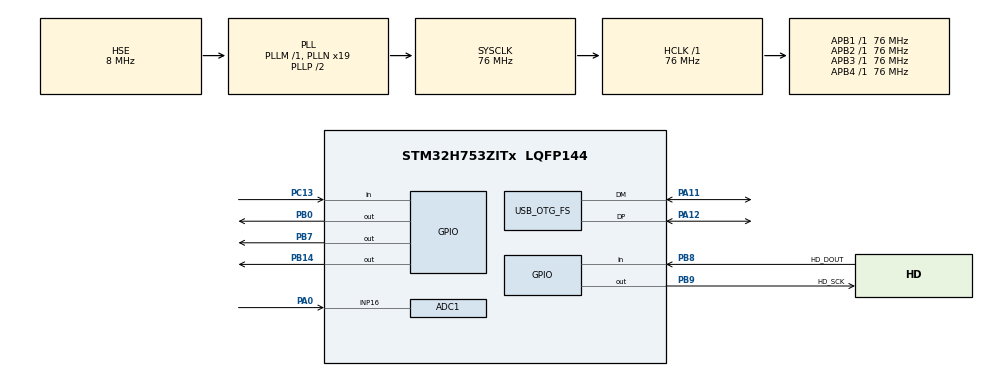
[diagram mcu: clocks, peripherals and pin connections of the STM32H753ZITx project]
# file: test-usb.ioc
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ADC1.Channel-0\#ChannelRegularConversion=ADC_CHANNEL_16
ADC1.NbrOfConversionFlag=1
ADC1.OffsetNumber-0\#ChannelRegularConversion=ADC_OFFSET_NONE
ADC1.OffsetSignedSaturation-0\#ChannelRegularConversion=DISABLE
ADC1.Rank-0\#ChannelRegularConversion=1
ADC1.Resolution=ADC_RESOLUTION_12B
ADC1.SamplingTime-0\#ChannelRegularConversion=ADC_SAMPLETIME_1CYCLE_5
ADC1.master=1
CORTEX_M7.CPU_DCache=Disabled
CORTEX_M7.CPU_ICache=Disabled
CORTEX_M7.MPU_Control=__NULL
CORTEX_M7.default_mode_Activation=1
FREERTOS.Tasks01=defaultTask,24,3000,StartDefaultTask,Default,NULL,Static,defaultTaskBuffer,defaultTaskControlBlock
FREERTOS.configUSE_NEWLIB_REENTRANT=1
Mcu.Family=STM32H7
Mcu.Name=STM32H753ZITx
Mcu.Package=LQFP144
NUCLEO-H753ZI.BUTTON=1
NUCLEO-H753ZI.LD1=true
NUCLEO-H753ZI.LD2=true
NUCLEO-H753ZI.LD3=true
NUCLEO-H753ZI.VCP=true
NVIC.EXTI15_10_IRQn=true\:5\:0\:false\:false\:true\:true\:false\:true\:true
NVIC.OTG_FS_IRQn=true\:5\:0\:false\:false\:true\:true\:false\:true\:true
NVIC.PriorityGroup=NVIC_PRIORITYGROUP_4
NVIC.TIM1_UP_IRQn=true\:15\:0\:false\:false\:true\:false\:false\:true\:true
NVIC.TimeBase=TIM1_UP_IRQn
NVIC.TimeBaseIP=TIM1
PA0.Mode=IN16-Single-Ended
PA0.Signal=ADC1_INP16
PA11.Mode=Device_Only
PA11.Signal=USB_OTG_FS_DM
PA12.Mode=Device_Only
PA12.Signal=USB_OTG_FS_DP
PA13\ (JTMS/SWDIO).Mode=Serial_Wire
PA13\ (JTMS/SWDIO).Signal=DEBUG_JTMS-SWDIO
PA14\ (JTCK/SWCLK).Mode=Serial_Wire
PA14\ (JTCK/SWCLK).Signal=DEBUG_JTCK-SWCLK
PB0.Signal=GPIO_Output
PB14.Signal=GPIO_Output
PB7.Signal=GPIO_Output
PB8.GPIO_Label=HD_DOUT
PB8.Signal=GPIO_Input
PB9.GPIO_Label=HD_SCK
PB9.Signal=GPIO_Output
PC13.Signal=GPIO_Input
PC14-OSC32_IN\ (OSC32_IN).Signal=RCC_OSC32_IN
PC15-OSC32_OUT\ (OSC32_OUT).Signal=RCC_OSC32_OUT
PD8.Signal=USART3_TX
PD9.Signal=USART3_RX
PH0-OSC_IN\ (PH0).Mode=HSE-External-Oscillator
PH0-OSC_IN\ (PH0).Signal=RCC_OSC_IN
PH1-OSC_OUT\ (PH1).Mode=HSE-External-Oscillator
PH1-OSC_OUT\ (PH1).Signal=RCC_OSC_OUT
ProjectManager.HeapSize=0x200
ProjectManager.StackSize=0x400
ProjectManager.TargetToolchain=STM32CubeIDE
RCC.ADCFreq_Value=76000000
RCC.APB1Freq_Value=76000000
RCC.APB2Freq_Value=76000000
RCC.APB3Freq_Value=76000000
RCC.APB4Freq_Value=76000000
RCC.CortexFreq_Value=76000000
RCC.DIVM1=1
RCC.DIVM2=1
RCC.DIVN1=19
RCC.DIVN2=19
RCC.DIVQ1=3
RCC.FLatency=FLASH_LATENCY_1
RCC.HCLKFreq_Value=76000000
RCC.HSE_VALUE=8000000
RCC.PLL2FRACN=0
RCC.PLLFRACN=0
RCC.PLLSourceVirtual=RCC_PLLSOURCE_HSE
RCC.SYSCLKFreq_VALUE=76000000
RCC.SYSCLKSource=RCC_SYSCLKSOURCE_PLLCLK
RCC.Tim1Mul=1
RCC.Tim2Mul=1
RCC.USBFreq_Value=50666666.666666664
USB_DEVICE.CLASS_NAME_FS=CDC
USB_DEVICE.PRODUCT_STRING_CDC_FS=STM32 Virtual Port
USB_DEVICE.VirtualMode-CDC_FS=Cdc
USB_DEVICE.VirtualModeFS=Cdc_FS
USB_OTG_FS.VirtualMode=Device_Only
VP_FREERTOS_VS_CMSIS_V2.Mode=CMSIS_V2
VP_MEMORYMAP_VS_MEMORYMAP.Mode=CurAppReg
VP_NUCLEO-H753ZI_VS_BSP_COMMON.Mode=COMMON
VP_SYS_VS_tim1.Mode=TIM1
VP_USB_DEVICE_VS_USB_DEVICE_CDC_FS.Mode=CDC_FS
board=NUCLEO-H753ZI

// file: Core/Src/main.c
/* USER CODE BEGIN Header */
/**
  ******************************************************************************
  * @file           : main.c
  * @brief          : Main program body
  ******************************************************************************
  * @attention
  *
  * Copyright (c) 2025 STMicroelectronics.
  * All rights reserved.
  *
  * This software is licensed under terms that can be found in the LICENSE file
  * in the root directory of this software component.
  * If no LICENSE file comes with this software, it is provided AS-IS.
  *
  ******************************************************************************
  */
/* USER CODE END Header */
#include "main.h"
#include "cmsis_os.h"
#include "adc.h"
#include "usb_device.h"
#include "gpio.h"

/* USER CODE BEGIN Includes */
#include "usbd_cdc_if.h"
#include "string.h"
/* USER CODE END Includes */

COM_InitTypeDef BspCOMInit;

void SystemClock_Config(void);
void MX_FREERTOS_Init(void);

int main(void)
{

  /* MCU Configuration--------------------------------------------------------*/

  /* Reset of all peripherals, Initializes the Flash interface and the Systick. */
  HAL_Init();

  /* Configure the system clock */
  SystemClock_Config();

  /* Initialize all configured peripherals */
  MX_GPIO_Init();
  MX_ADC1_Init();

  /* Init scheduler */
  osKernelInitialize();  /* Call init function for freertos objects (in cmsis_os2.c) */
  MX_FREERTOS_Init();

  /* Initialize leds */
  BSP_LED_Init(LED_GREEN);
  BSP_LED_Init(LED_BLUE);
  BSP_LED_Init(LED_RED);

  /* Initialize USER push-button, will be used to trigger an interrupt each time it's pressed.*/
  BSP_PB_Init(BUTTON_USER, BUTTON_MODE_EXTI);

  /* Initialize COM1 port (115200, 8 bits (7-bit data + 1 stop bit), no parity */
  BspCOMInit.BaudRate   = 115200;
  BspCOMInit.WordLength = COM_WORDLENGTH_8B;
  BspCOMInit.StopBits   = COM_STOPBITS_1;
  BspCOMInit.Parity     = COM_PARITY_NONE;
  BspCOMInit.HwFlowCtl  = COM_HWCONTROL_NONE;
  if (BSP_COM_Init(COM1, &BspCOMInit) != BSP_ERROR_NONE)
  {
    Error_Handler();
  }

  /* Start scheduler */
  osKernelStart();

  /* We should never get here as control is now taken by the scheduler */

  /* Infinite loop */
  while (1)
  {

  }
}

void SystemClock_Config(void)
{
  RCC_OscInitTypeDef RCC_OscInitStruct = {0};
  RCC_ClkInitTypeDef RCC_ClkInitStruct = {0};

  /** Supply configuration update enable
  */
  HAL_PWREx_ConfigSupply(PWR_LDO_SUPPLY);

  /** Configure the main internal regulator output voltage
  */
  __HAL_PWR_VOLTAGESCALING_CONFIG(PWR_REGULATOR_VOLTAGE_SCALE3);

  while(!__HAL_PWR_GET_FLAG(PWR_FLAG_VOSRDY)) {}

  /** Initializes the RCC Oscillators according to the specified parameters
  * in the RCC_OscInitTypeDef structure.
  */
  RCC_OscInitStruct.OscillatorType = RCC_OSCILLATORTYPE_HSE;
  RCC_OscInitStruct.HSEState = RCC_HSE_ON;
  RCC_OscInitStruct.PLL.PLLState = RCC_PLL_ON;
  RCC_OscInitStruct.PLL.PLLSource = RCC_PLLSOURCE_HSE;
  RCC_OscInitStruct.PLL.PLLM = 1;
  RCC_OscInitStruct.PLL.PLLN = 19;
  RCC_OscInitStruct.PLL.PLLP = 2;
  RCC_OscInitStruct.PLL.PLLQ = 3;
  RCC_OscInitStruct.PLL.PLLR = 2;
  RCC_OscInitStruct.PLL.PLLRGE = RCC_PLL1VCIRANGE_3;
  RCC_OscInitStruct.PLL.PLLVCOSEL = RCC_PLL1VCOMEDIUM;
  RCC_OscInitStruct.PLL.PLLFRACN = 0;
  if (HAL_RCC_OscConfig(&RCC_OscInitStruct) != HAL_OK)
  {
    Error_Handler();
  }

  /** Initializes the CPU, AHB and APB buses clocks
  */
  RCC_ClkInitStruct.ClockType = RCC_CLOCKTYPE_HCLK|RCC_CLOCKTYPE_SYSCLK
                              |RCC_CLOCKTYPE_PCLK1|RCC_CLOCKTYPE_PCLK2
                              |RCC_CLOCKTYPE_D3PCLK1|RCC_CLOCKTYPE_D1PCLK1;
  RCC_ClkInitStruct.SYSCLKSource = RCC_SYSCLKSOURCE_PLLCLK;
  RCC_ClkInitStruct.SYSCLKDivider = RCC_SYSCLK_DIV1;
  RCC_ClkInitStruct.AHBCLKDivider = RCC_HCLK_DIV1;
  RCC_ClkInitStruct.APB3CLKDivider = RCC_APB3_DIV1;
  RCC_ClkInitStruct.APB1CLKDivider = RCC_APB1_DIV1;
  RCC_ClkInitStruct.APB2CLKDivider = RCC_APB2_DIV1;
  RCC_ClkInitStruct.APB4CLKDivider = RCC_APB4_DIV1;

  if (HAL_RCC_ClockConfig(&RCC_ClkInitStruct, FLASH_LATENCY_1) != HAL_OK)
  {
    Error_Handler();
  }
}

void HAL_TIM_PeriodElapsedCallback(TIM_HandleTypeDef *htim)
{
  if (htim->Instance == TIM1)
  {
    HAL_IncTick();
  }
}

void Error_Handler(void)
{
  __disable_irq();
  while (1)
  {
  }
}

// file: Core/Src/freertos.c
/* USER CODE BEGIN Header */
/**
  ******************************************************************************
  * File Name          : freertos.c
  * Description        : Code for freertos applications
  ******************************************************************************
  * @attention
  *
  * Copyright (c) 2025 STMicroelectronics.
  * All rights reserved.
  *
  * This software is licensed under terms that can be found in the LICENSE file
  * in the root directory of this software component.
  * If no LICENSE file comes with this software, it is provided AS-IS.
  *
  ******************************************************************************
  */
/* USER CODE END Header */

#include "FreeRTOS.h"
#include "task.h"
#include "main.h"
#include "cmsis_os.h"

/* USER CODE BEGIN Includes */
#include <stdbool.h>
#include <std_msgs/msg/int32.h>

#include "../../../test-usb/micro_ros_stm32cubemx_utils/microros_static_library_ide/libmicroros/include/rcl/error_handling.h"
#include "../../../test-usb/micro_ros_stm32cubemx_utils/microros_static_library_ide/libmicroros/include/rcl/rcl.h"
#include "../../../test-usb/micro_ros_stm32cubemx_utils/microros_static_library_ide/libmicroros/include/rclc/executor.h"
#include "../../../test-usb/micro_ros_stm32cubemx_utils/microros_static_library_ide/libmicroros/include/rclc/rclc.h"
#include "../../../test-usb/micro_ros_stm32cubemx_utils/microros_static_library_ide/libmicroros/include/rmw_microros/rmw_microros.h"
#include "../../../test-usb/micro_ros_stm32cubemx_utils/microros_static_library_ide/libmicroros/include/rmw_microxrcedds_c/config.h"
#include "../../../test-usb/micro_ros_stm32cubemx_utils/microros_static_library_ide/libmicroros/include/std_msgs/msg/int32.h"
#include "../../../test-usb/micro_ros_stm32cubemx_utils/microros_static_library_ide/libmicroros/include/uxr/client/transport.h"

/* USER CODE END Includes */

typedef StaticTask_t osStaticThreadDef_t;

/* Definitions for defaultTask */
osThreadId_t defaultTaskHandle;
uint32_t defaultTaskBuffer[ 3000 ];
osStaticThreadDef_t defaultTaskControlBlock;
const osThreadAttr_t defaultTask_attributes = {
  .name = "defaultTask",
  .cb_mem = &defaultTaskControlBlock,
  .cb_size = sizeof(defaultTaskControlBlock),
  .stack_mem = &defaultTaskBuffer[0],
  .stack_size = sizeof(defaultTaskBuffer),
  .priority = (osPriority_t) osPriorityNormal,
};

/* USER CODE BEGIN FunctionPrototypes */
bool cubemx_transport_open(struct uxrCustomTransport * transport);
bool cubemx_transport_close(struct uxrCustomTransport * transport);
size_t cubemx_transport_write(struct uxrCustomTransport* transport, const uint8_t * buf, size_t len, uint8_t * err);
size_t cubemx_transport_read(struct uxrCustomTransport* transport, uint8_t* buf, size_t len, int timeout, uint8_t* err);

void * microros_allocate(size_t size, void * state);
void microros_deallocate(void * pointer, void * state);
void * microros_reallocate(void * pointer, size_t size, void * state);
void * microros_zero_allocate(size_t number_of_elements, size_t size_of_element, void * state);
/* USER CODE END FunctionPrototypes */

void StartDefaultTask(void *argument);

extern void MX_USB_DEVICE_Init(void);
void MX_FREERTOS_Init(void); /* (MISRA C 2004 rule 8.1) */

void MX_FREERTOS_Init(void) {
  /* USER CODE BEGIN Init */
	MX_USB_DEVICE_Init();
	InterfaceSystemInit();
  /* USER CODE END Init */

  /* Create the thread(s) */
  /* creation of defaultTask */
  defaultTaskHandle = osThreadNew(StartDefaultTask, NULL, &defaultTask_attributes);

}

void StartDefaultTask(void *argument)
{
  /* init code for USB_DEVICE */

  /* USER CODE BEGIN StartDefaultTask */
  /* Infinite loop */
	for (;;)
	{
	        // work...
	}
  /* USER CODE BEGIN 5 */

  /* USER CODE END StartDefaultTask */
}
